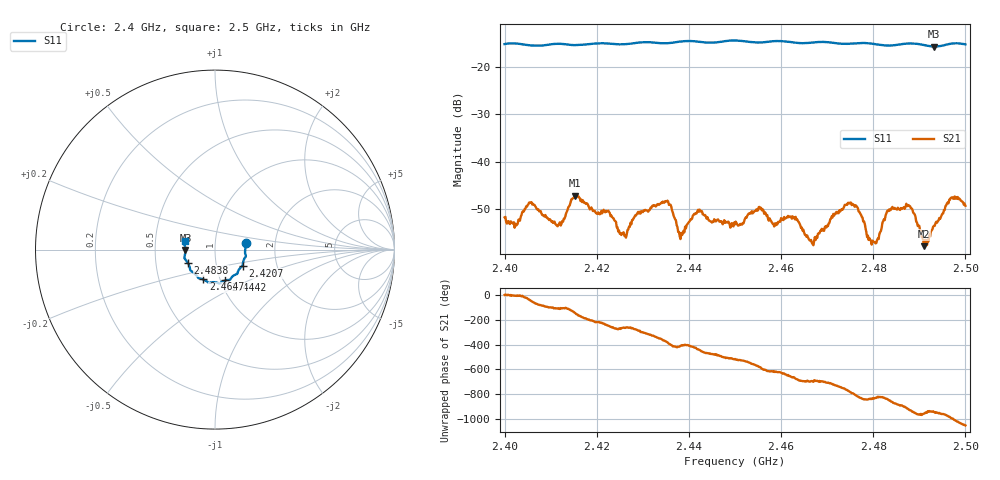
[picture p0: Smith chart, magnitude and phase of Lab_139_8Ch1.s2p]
# Hz S RI R 50
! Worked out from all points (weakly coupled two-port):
!   601 points, 2.4 GHz to 2.5 GHz, reference 50 ohm
!   highest |S21| = -47.17 dB at 2.4153 GHz (marker M1); lowest = -57.9 dB at 2.491 GHz (marker M2)
!   lowest |S11| = -15.7 dB at 2.4932 GHz (marker M3), VSWR 1.39, Z = 35.9 - j0.214 ohm
!   |S11| at or under -10 dB: start of sweep to end of sweep
!   S12 and S22 are empty: the file has one direction only
!   S11 on the Smith chart (normalised r, x): 2.4 GHz: 1.40, +0.11; 2.4207 GHz: 1.34, -0.25; 2.4442 GHz: 1.06, -0.37; 2.4647 GHz: 0.83, -0.29; 2.4838 GHz: 0.73, -0.11; 2.5 GHz: 0.71, +0.07
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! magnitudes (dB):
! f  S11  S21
! 2.4 GHz  -15.2  -51.8
! 2.4058 GHz  -15.5  -48.6
! 2.4118 GHz  -15.1  -53.1
! 2.4153 GHz  -15.4  -47.2
! 2.4167 GHz  -15.3  -48.0
! 2.4207 GHz  -15.0  -51.1
! 2.426 GHz  -15.2  -55.7
! 2.4333 GHz  -14.9  -49.0
! 2.4382 GHz  -14.6  -56.4
! 2.4442 GHz  -14.9  -52.1
! 2.45 GHz  -14.4  -53.3
! 2.4557 GHz  -14.8  -49.8
! 2.4647 GHz  -15.0  -54.6
! 2.4667 GHz  -14.8  -57.1
! 2.475 GHz  -15.1  -48.7
! 2.4802 GHz  -15.1  -57.0
! 2.4833 GHz  -15.5  -50.5
! 2.4838 GHz  -15.5  -50.2
! 2.488 GHz  -15.0  -49.4
! 2.491 GHz  -15.4  -57.9
! 2.4932 GHz  -15.7  -53.6
! 2.5 GHz  -15.2  -49.3
